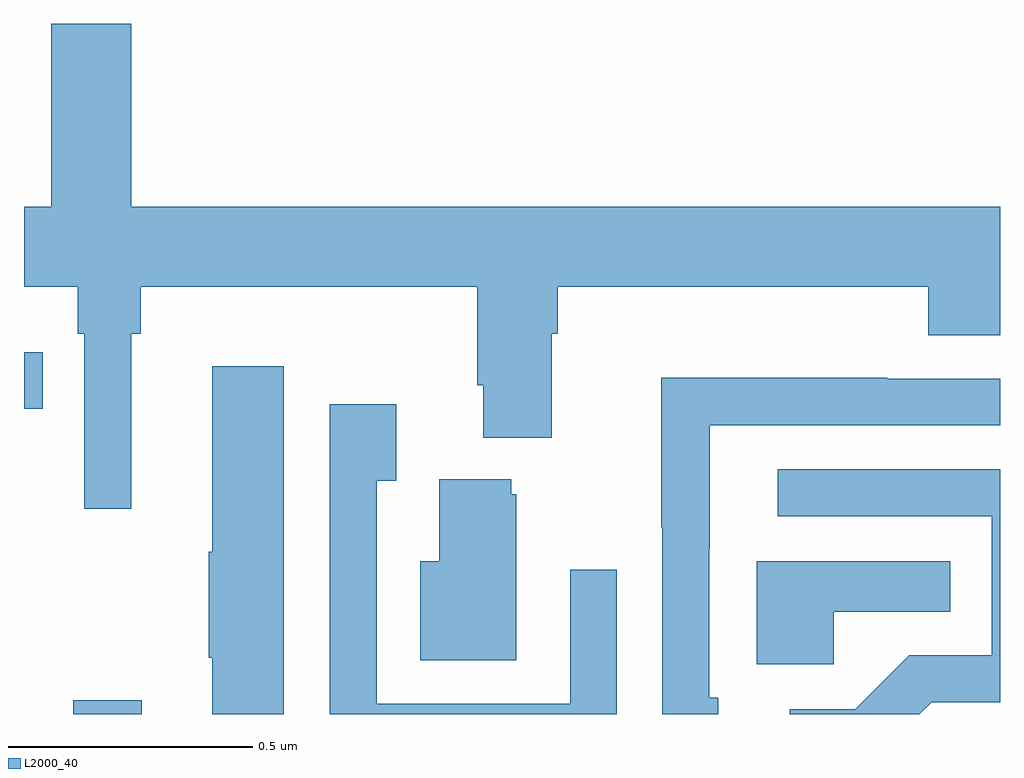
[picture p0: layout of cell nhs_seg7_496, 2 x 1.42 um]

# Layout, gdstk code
import gdstk
lib = gdstk.Library(unit=1e-6, precision=1e-09)
def R(c, l, rs):  # rectangles x0, y0, x1, y1
    for r in rs: c.add(gdstk.rectangle(r[:2], r[2:], *l))
def P(c, l, *ps):  # polygons
    for p in ps: c.add(gdstk.Polygon(p, *l))
L2000_40 = (2000, 40)

nhs_seg7_496 = lib.new_cell('nhs_seg7_496')
R(nhs_seg7_496, L2000_40, [(117.101,1073,117.241,1073.029), (117,1073.626,117.038,1073.742)])
P(nhs_seg7_496, L2000_40, [(117.22,1073.78),(117.239,1073.78),(117.239,1073.876),(117.929,1073.876),(117.929,1073.674),(117.941,1073.674),(117.941,1073.567),(118.081,1073.567),(118.081,1073.78),(118.094,1073.78),(118.094,1073.876),(118.853,1073.876),(118.853,1073.777),(119,1073.777),(119,1074.04),(117.22,1074.04),(117.22,1074.415),(117.056,1074.415),(117.056,1074.04),(117,1074.04),(117,1073.876),(117.11,1073.876),(117.11,1073.78),(117.123,1073.78),(117.123,1073.421),(117.22,1073.421)],
  [(117.532,1073.713),(117.386,1073.713),(117.386,1073.333),(117.379,1073.333),(117.379,1073.116),(117.386,1073.116),(117.386,1073),(117.532,1073)],
  [(118.423,1073.034),(118.404,1073.034),(118.404,1073.338),(118.405,1073.338),(118.405,1073.592),(119,1073.592),(119,1073.688),(118.769,1073.688),(118.769,1073.69),(118.306,1073.69),(118.306,1073.383),(118.308,1073.383),(118.308,1073),(118.423,1073)],
  [(118.215,1073.296),(118.119,1073.296),(118.119,1073.022),(117.723,1073.022),(117.723,1073.479),(117.763,1073.479),(117.763,1073.635),(117.627,1073.635),(117.627,1073),(118.215,1073)],
  [(118.86,1073.025),(119,1073.025),(119,1073.502),(118.545,1073.502),(118.545,1073.406),(118.983,1073.406),(118.983,1073.121),(118.814,1073.121),(118.703,1073.01),(118.569,1073.01),(118.569,1073),(118.835,1073)],
  [(118.009,1073.451),(117.998,1073.451),(117.998,1073.482),(117.851,1073.482),(117.851,1073.314),(117.812,1073.314),(117.812,1073.111),(118.009,1073.111)],
  [(118.659,1073.21),(118.898,1073.21),(118.898,1073.314),(118.502,1073.314),(118.502,1073.102),(118.659,1073.102)])

lib.write_gds('nhs_seg7_496.gds')
